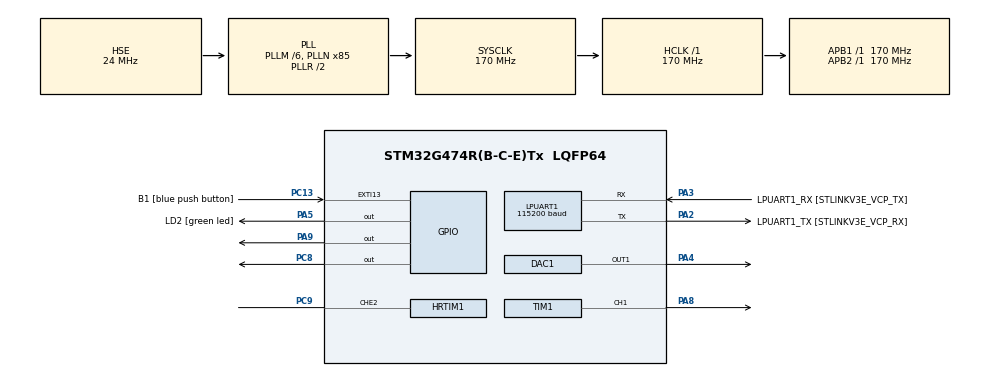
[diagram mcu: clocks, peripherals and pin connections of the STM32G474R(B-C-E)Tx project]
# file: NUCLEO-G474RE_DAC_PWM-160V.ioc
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Dma.Request0=TIM1_CH1
Dma.TIM1_CH1.0.Direction=DMA_PERIPH_TO_MEMORY
Dma.TIM1_CH1.0.EventEnable=DISABLE
Dma.TIM1_CH1.0.Instance=DMA1_Channel1
Dma.TIM1_CH1.0.MemDataAlignment=DMA_MDATAALIGN_HALFWORD
Dma.TIM1_CH1.0.MemInc=DMA_MINC_ENABLE
Dma.TIM1_CH1.0.Mode=DMA_CIRCULAR
Dma.TIM1_CH1.0.PeriphDataAlignment=DMA_PDATAALIGN_HALFWORD
Dma.TIM1_CH1.0.PeriphInc=DMA_PINC_DISABLE
Dma.TIM1_CH1.0.Polarity=HAL_DMAMUX_REQ_GEN_RISING
Dma.TIM1_CH1.0.Priority=DMA_PRIORITY_MEDIUM
Dma.TIM1_CH1.0.RequestNumber=1
Dma.TIM1_CH1.0.SignalID=NONE
Dma.TIM1_CH1.0.SyncEnable=DISABLE
Dma.TIM1_CH1.0.SyncPolarity=HAL_DMAMUX_SYNC_NO_EVENT
Dma.TIM1_CH1.0.SyncRequestNumber=1
Dma.TIM1_CH1.0.SyncSignalID=NONE
LPUART1.BaudRate=115200
LPUART1.WordLength=UART_WORDLENGTH_8B
Mcu.Family=STM32G4
Mcu.Name=STM32G474R(B-C-E)Tx
Mcu.Package=LQFP64
NVIC.DMA1_Channel1_IRQn=true\:0\:0\:false\:false\:true\:false\:true\:true
NVIC.EXTI15_10_IRQn=true\:0\:0\:false\:false\:true\:true\:true\:true
NVIC.PriorityGroup=NVIC_PRIORITYGROUP_4
PA13.GPIO_Label=T_SWDIO
PA13.Mode=Trace_Asynchronous_SW
PA13.Signal=SYS_JTMS-SWDIO
PA14.GPIO_Label=T_SWCLK
PA14.Mode=Trace_Asynchronous_SW
PA14.Signal=SYS_JTCK-SWCLK
PA2.GPIO_Label=LPUART1_TX [STLINKV3E_VCP_RX]
PA2.Mode=Asynchronous
PA2.Signal=LPUART1_TX
PA3.GPIO_Label=LPUART1_RX [STLINKV3E_VCP_TX]
PA3.Mode=Asynchronous
PA3.Signal=LPUART1_RX
PA4.Signal=COMP_DAC11_group
PA5.GPIO_Label=LD2 [green led]
PA5.Signal=GPIO_Output
PA8.Signal=S_TIM1_CH1
PA9.Signal=GPIO_Output
PB3.GPIO_Label=T_SWO
PB3.Mode=Trace_Asynchronous_SW
PB3.Signal=SYS_JTDO-SWO
PC13.GPIO_Label=B1 [blue push button]
PC13.Signal=GPXTI13
PC14-OSC32_IN.Mode=LSE-External-Oscillator
PC14-OSC32_IN.Signal=RCC_OSC32_IN
PC15-OSC32_OUT.Mode=LSE-External-Oscillator
PC15-OSC32_OUT.Signal=RCC_OSC32_OUT
PC8.PinState=GPIO_PIN_SET
PC8.Signal=GPIO_Output
PC9.Mode=Output_TE2
PC9.Signal=HRTIM1_CHE2
PF0-OSC_IN.Mode=HSE-External-Oscillator
PF0-OSC_IN.Signal=RCC_OSC_IN
PF1-OSC_OUT.Mode=HSE-External-Oscillator
PF1-OSC_OUT.Signal=RCC_OSC_OUT
ProjectManager.HeapSize=0x200
ProjectManager.StackSize=0x400
ProjectManager.TargetToolchain=STM32CubeIDE
RCC.ADC12Freq_Value=170000000
RCC.ADC345Freq_Value=170000000
RCC.AHBFreq_Value=170000000
RCC.APB1Freq_Value=170000000
RCC.APB1TimFreq_Value=170000000
RCC.APB2Freq_Value=170000000
RCC.APB2TimFreq_Value=170000000
RCC.CortexFreq_Value=170000000
RCC.EXTERNAL_CLOCK_VALUE=12288000
RCC.HCLKFreq_Value=170000000
RCC.HSE_VALUE=24000000
RCC.HSI48_VALUE=48000000
RCC.HSI_VALUE=16000000
RCC.PLLM=RCC_PLLM_DIV6
RCC.PLLN=85
RCC.PLLSourceVirtual=RCC_PLLSOURCE_HSE
RCC.RTCClockSelection=RCC_RTCCLKSOURCE_LSE
RCC.SYSCLKFreq_VALUE=170000000
RCC.SYSCLKSource=RCC_SYSCLKSOURCE_PLLCLK
RCC.USBFreq_Value=170000000
RCC.VCOOutputFreq_Value=340000000
SH.COMP_DAC11_group.0=DAC1_OUT1,DAC_OUT1_ExtAndInt
SH.S_TIM1_CH1.0=TIM1_CH1,PWM Generation1 CH1
TIM1.Channel-PWM\ Generation1\ CH1=TIM_CHANNEL_1
TIM1.PeriodNoDither=1000-1
TIM1.Prescaler=17-1
VP_SYS_VS_DBSignals.Mode=DisableDeadBatterySignals
board=NUCLEO-G474RE

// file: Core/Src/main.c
/* USER CODE BEGIN Header */
/**
  ******************************************************************************
  * @file           : main.c
  * @brief          : Main program body
  ******************************************************************************
  * @attention
  *
  * Copyright (c) 2022 STMicroelectronics.
  * All rights reserved.
  *
  * This software is licensed under terms that can be found in the LICENSE file
  * in the root directory of this software component.
  * If no LICENSE file comes with this software, it is provided AS-IS.
  *
  ******************************************************************************
  */
/* USER CODE END Header */
#include "main.h"

DAC_HandleTypeDef hdac1;

HRTIM_HandleTypeDef hhrtim1;

UART_HandleTypeDef hlpuart1;

TIM_HandleTypeDef htim1;
DMA_HandleTypeDef hdma_tim1_ch1;

/* USER CODE BEGIN PV */

// for 0V - 160V variable output PWM
volatile uint16_t duty_cycle = 0;
uint16_t duty_cycle_increase = 0;

/* USER CODE END PV */

void SystemClock_Config(void);
static void MX_GPIO_Init(void);
static void MX_LPUART1_UART_Init(void);
static void MX_DMA_Init(void);
static void MX_HRTIM1_Init(void);
static void MX_TIM1_Init(void);
static void MX_DAC1_Init(void);

int main(void)
{

  /* MCU Configuration--------------------------------------------------------*/

  /* Reset of all peripherals, Initializes the Flash interface and the Systick. */
  HAL_Init();

  /* Configure the system clock */
  SystemClock_Config();

  /* Initialize all configured peripherals */
  MX_GPIO_Init();
  MX_LPUART1_UART_Init();
  MX_DMA_Init();
  MX_HRTIM1_Init();
  MX_TIM1_Init();
  MX_DAC1_Init();
  /* USER CODE BEGIN 2 */

  // Opto duty cycle by DMA
  duty_cycle = 00; // div by 10
  if (HAL_TIM_PWM_Start_DMA(&htim1, TIM_CHANNEL_1, (uint32_t *) &duty_cycle, 1) != HAL_OK)
  {
    /* PWM Generation Error */
    while(1)
    {
    	HAL_Delay(100);
    	HAL_GPIO_TogglePin(GPIOA, GPIO_PIN_5);
    }
  }

  /* USER CODE END 2 */

  /* Infinite loop */
  /* USER CODE BEGIN WHILE */
  while (1)
  {
	  HAL_GPIO_TogglePin(GPIOA, GPIO_PIN_5);
	  HAL_Delay(50);
		if (duty_cycle == 0)
		{
			duty_cycle_increase = 1; //duty_cycle + 10; // div by 10; // div by 10
			HAL_Delay(4000);
		}
		if (duty_cycle == 1000)
		{
			duty_cycle_increase = 0;
			HAL_Delay(4000);
		}
		if (duty_cycle_increase)
			duty_cycle = duty_cycle + 1;
		else
			duty_cycle = duty_cycle - 1;
    /* USER CODE END WHILE */

  }
}

void SystemClock_Config(void)
{
  RCC_OscInitTypeDef RCC_OscInitStruct = {0};
  RCC_ClkInitTypeDef RCC_ClkInitStruct = {0};

  /** Configure the main internal regulator output voltage
  */
  HAL_PWREx_ControlVoltageScaling(PWR_REGULATOR_VOLTAGE_SCALE1_BOOST);

  /** Initializes the RCC Oscillators according to the specified parameters
  * in the RCC_OscInitTypeDef structure.
  */
  RCC_OscInitStruct.OscillatorType = RCC_OSCILLATORTYPE_HSE;
  RCC_OscInitStruct.HSEState = RCC_HSE_ON;
  RCC_OscInitStruct.PLL.PLLState = RCC_PLL_ON;
  RCC_OscInitStruct.PLL.PLLSource = RCC_PLLSOURCE_HSE;
  RCC_OscInitStruct.PLL.PLLM = RCC_PLLM_DIV6;
  RCC_OscInitStruct.PLL.PLLN = 85;
  RCC_OscInitStruct.PLL.PLLP = RCC_PLLP_DIV2;
  RCC_OscInitStruct.PLL.PLLQ = RCC_PLLQ_DIV2;
  RCC_OscInitStruct.PLL.PLLR = RCC_PLLR_DIV2;
  if (HAL_RCC_OscConfig(&RCC_OscInitStruct) != HAL_OK)
  {
    Error_Handler();
  }

  /** Initializes the CPU, AHB and APB buses clocks
  */
  RCC_ClkInitStruct.ClockType = RCC_CLOCKTYPE_HCLK|RCC_CLOCKTYPE_SYSCLK
                              |RCC_CLOCKTYPE_PCLK1|RCC_CLOCKTYPE_PCLK2;
  RCC_ClkInitStruct.SYSCLKSource = RCC_SYSCLKSOURCE_PLLCLK;
  RCC_ClkInitStruct.AHBCLKDivider = RCC_SYSCLK_DIV1;
  RCC_ClkInitStruct.APB1CLKDivider = RCC_HCLK_DIV1;
  RCC_ClkInitStruct.APB2CLKDivider = RCC_HCLK_DIV1;

  if (HAL_RCC_ClockConfig(&RCC_ClkInitStruct, FLASH_LATENCY_4) != HAL_OK)
  {
    Error_Handler();
  }
}

static void MX_DAC1_Init(void)
{

  DAC_ChannelConfTypeDef sConfig = {0};

  /** DAC Initialization
  */
  hdac1.Instance = DAC1;
  if (HAL_DAC_Init(&hdac1) != HAL_OK)
  {
    Error_Handler();
  }

  /** DAC channel OUT1 config
  */
  sConfig.DAC_HighFrequency = DAC_HIGH_FREQUENCY_INTERFACE_MODE_AUTOMATIC;
  sConfig.DAC_DMADoubleDataMode = DISABLE;
  sConfig.DAC_SignedFormat = DISABLE;
  sConfig.DAC_SampleAndHold = DAC_SAMPLEANDHOLD_DISABLE;
  sConfig.DAC_Trigger = DAC_TRIGGER_NONE;
  sConfig.DAC_Trigger2 = DAC_TRIGGER_NONE;
  sConfig.DAC_OutputBuffer = DAC_OUTPUTBUFFER_ENABLE;
  sConfig.DAC_ConnectOnChipPeripheral = DAC_CHIPCONNECT_BOTH;
  sConfig.DAC_UserTrimming = DAC_TRIMMING_FACTORY;
  if (HAL_DAC_ConfigChannel(&hdac1, &sConfig, DAC_CHANNEL_1) != HAL_OK)
  {
    Error_Handler();
  }

}

static void MX_HRTIM1_Init(void)
{

  HRTIM_TimeBaseCfgTypeDef pTimeBaseCfg = {0};
  HRTIM_TimerCtlTypeDef pTimerCtl = {0};
  HRTIM_TimerCfgTypeDef pTimerCfg = {0};
  HRTIM_OutputCfgTypeDef pOutputCfg = {0};

  hhrtim1.Instance = HRTIM1;
  hhrtim1.Init.HRTIMInterruptResquests = HRTIM_IT_NONE;
  hhrtim1.Init.SyncOptions = HRTIM_SYNCOPTION_NONE;
  if (HAL_HRTIM_Init(&hhrtim1) != HAL_OK)
  {
    Error_Handler();
  }
  if (HAL_HRTIM_DLLCalibrationStart(&hhrtim1, HRTIM_CALIBRATIONRATE_3) != HAL_OK)
  {
    Error_Handler();
  }
  if (HAL_HRTIM_PollForDLLCalibration(&hhrtim1, 10) != HAL_OK)
  {
    Error_Handler();
  }
  pTimeBaseCfg.Period = 0xFFDF;
  pTimeBaseCfg.RepetitionCounter = 0x00;
  pTimeBaseCfg.PrescalerRatio = HRTIM_PRESCALERRATIO_MUL32;
  pTimeBaseCfg.Mode = HRTIM_MODE_CONTINUOUS;
  if (HAL_HRTIM_TimeBaseConfig(&hhrtim1, HRTIM_TIMERINDEX_TIMER_E, &pTimeBaseCfg) != HAL_OK)
  {
    Error_Handler();
  }
  pTimerCtl.UpDownMode = HRTIM_TIMERUPDOWNMODE_UP;
  pTimerCtl.DualChannelDacEnable = HRTIM_TIMER_DCDE_DISABLED;
  if (HAL_HRTIM_WaveformTimerControl(&hhrtim1, HRTIM_TIMERINDEX_TIMER_E, &pTimerCtl) != HAL_OK)
  {
    Error_Handler();
  }
  pTimerCfg.InterruptRequests = HRTIM_TIM_IT_NONE;
  pTimerCfg.DMARequests = HRTIM_TIM_DMA_NONE;
  pTimerCfg.DMASrcAddress = 0x0000;
  pTimerCfg.DMADstAddress = 0x0000;
  pTimerCfg.DMASize = 0x1;
  pTimerCfg.HalfModeEnable = HRTIM_HALFMODE_DISABLED;
  pTimerCfg.InterleavedMode = HRTIM_INTERLEAVED_MODE_DISABLED;
  pTimerCfg.StartOnSync = HRTIM_SYNCSTART_DISABLED;
  pTimerCfg.ResetOnSync = HRTIM_SYNCRESET_DISABLED;
  pTimerCfg.DACSynchro = HRTIM_DACSYNC_NONE;
  pTimerCfg.PreloadEnable = HRTIM_PRELOAD_DISABLED;
  pTimerCfg.UpdateGating = HRTIM_UPDATEGATING_INDEPENDENT;
  pTimerCfg.BurstMode = HRTIM_TIMERBURSTMODE_MAINTAINCLOCK;
  pTimerCfg.RepetitionUpdate = HRTIM_UPDATEONREPETITION_DISABLED;
  pTimerCfg.PushPull = HRTIM_TIMPUSHPULLMODE_DISABLED;
  pTimerCfg.FaultEnable = HRTIM_TIMFAULTENABLE_NONE;
  pTimerCfg.FaultLock = HRTIM_TIMFAULTLOCK_READWRITE;
  pTimerCfg.DeadTimeInsertion = HRTIM_TIMDEADTIMEINSERTION_DISABLED;
  pTimerCfg.DelayedProtectionMode = HRTIM_TIMER_D_E_DELAYEDPROTECTION_DISABLED;
  pTimerCfg.UpdateTrigger = HRTIM_TIMUPDATETRIGGER_NONE;
  pTimerCfg.ResetTrigger = HRTIM_TIMRESETTRIGGER_NONE;
  pTimerCfg.ResetUpdate = HRTIM_TIMUPDATEONRESET_DISABLED;
  pTimerCfg.ReSyncUpdate = HRTIM_TIMERESYNC_UPDATE_UNCONDITIONAL;
  if (HAL_HRTIM_WaveformTimerConfig(&hhrtim1, HRTIM_TIMERINDEX_TIMER_E, &pTimerCfg) != HAL_OK)
  {
    Error_Handler();
  }
  pOutputCfg.Polarity = HRTIM_OUTPUTPOLARITY_HIGH;
  pOutputCfg.SetSource = HRTIM_OUTPUTSET_NONE;
  pOutputCfg.ResetSource = HRTIM_OUTPUTRESET_NONE;
  pOutputCfg.IdleMode = HRTIM_OUTPUTIDLEMODE_NONE;
  pOutputCfg.IdleLevel = HRTIM_OUTPUTIDLELEVEL_INACTIVE;
  pOutputCfg.FaultLevel = HRTIM_OUTPUTFAULTLEVEL_NONE;
  pOutputCfg.ChopperModeEnable = HRTIM_OUTPUTCHOPPERMODE_DISABLED;
  pOutputCfg.BurstModeEntryDelayed = HRTIM_OUTPUTBURSTMODEENTRY_REGULAR;
  if (HAL_HRTIM_WaveformOutputConfig(&hhrtim1, HRTIM_TIMERINDEX_TIMER_E, HRTIM_OUTPUT_TE2, &pOutputCfg) != HAL_OK)
  {
    Error_Handler();
  }
  HAL_HRTIM_MspPostInit(&hhrtim1);

}

static void MX_LPUART1_UART_Init(void)
{

  hlpuart1.Instance = LPUART1;
  hlpuart1.Init.BaudRate = 115200;
  hlpuart1.Init.WordLength = UART_WORDLENGTH_8B;
  hlpuart1.Init.StopBits = UART_STOPBITS_1;
  hlpuart1.Init.Parity = UART_PARITY_NONE;
  hlpuart1.Init.Mode = UART_MODE_TX_RX;
  hlpuart1.Init.HwFlowCtl = UART_HWCONTROL_NONE;
  hlpuart1.Init.OneBitSampling = UART_ONE_BIT_SAMPLE_DISABLE;
  hlpuart1.Init.ClockPrescaler = UART_PRESCALER_DIV1;
  hlpuart1.AdvancedInit.AdvFeatureInit = UART_ADVFEATURE_NO_INIT;
  if (HAL_UART_Init(&hlpuart1) != HAL_OK)
  {
    Error_Handler();
  }
  if (HAL_UARTEx_SetTxFifoThreshold(&hlpuart1, UART_TXFIFO_THRESHOLD_1_8) != HAL_OK)
  {
    Error_Handler();
  }
  if (HAL_UARTEx_SetRxFifoThreshold(&hlpuart1, UART_RXFIFO_THRESHOLD_1_8) != HAL_OK)
  {
    Error_Handler();
  }
  if (HAL_UARTEx_DisableFifoMode(&hlpuart1) != HAL_OK)
  {
    Error_Handler();
  }

}

static void MX_TIM1_Init(void)
{

  TIM_MasterConfigTypeDef sMasterConfig = {0};
  TIM_OC_InitTypeDef sConfigOC = {0};
  TIM_BreakDeadTimeConfigTypeDef sBreakDeadTimeConfig = {0};

  htim1.Instance = TIM1;
  htim1.Init.Prescaler = 17-1;
  htim1.Init.CounterMode = TIM_COUNTERMODE_UP;
  htim1.Init.Period = 999;
  htim1.Init.ClockDivision = TIM_CLOCKDIVISION_DIV1;
  htim1.Init.RepetitionCounter = 0;
  htim1.Init.AutoReloadPreload = TIM_AUTORELOAD_PRELOAD_DISABLE;
  if (HAL_TIM_PWM_Init(&htim1) != HAL_OK)
  {
    Error_Handler();
  }
  sMasterConfig.MasterOutputTrigger = TIM_TRGO_RESET;
  sMasterConfig.MasterOutputTrigger2 = TIM_TRGO2_RESET;
  sMasterConfig.MasterSlaveMode = TIM_MASTERSLAVEMODE_DISABLE;
  if (HAL_TIMEx_MasterConfigSynchronization(&htim1, &sMasterConfig) != HAL_OK)
  {
    Error_Handler();
  }
  sConfigOC.OCMode = TIM_OCMODE_PWM1;
  sConfigOC.Pulse = 0;
  sConfigOC.OCPolarity = TIM_OCPOLARITY_HIGH;
  sConfigOC.OCNPolarity = TIM_OCNPOLARITY_HIGH;
  sConfigOC.OCFastMode = TIM_OCFAST_DISABLE;
  sConfigOC.OCIdleState = TIM_OCIDLESTATE_RESET;
  sConfigOC.OCNIdleState = TIM_OCNIDLESTATE_RESET;
  if (HAL_TIM_PWM_ConfigChannel(&htim1, &sConfigOC, TIM_CHANNEL_1) != HAL_OK)
  {
    Error_Handler();
  }
  sBreakDeadTimeConfig.OffStateRunMode = TIM_OSSR_DISABLE;
  sBreakDeadTimeConfig.OffStateIDLEMode = TIM_OSSI_DISABLE;
  sBreakDeadTimeConfig.LockLevel = TIM_LOCKLEVEL_OFF;
  sBreakDeadTimeConfig.DeadTime = 0;
  sBreakDeadTimeConfig.BreakState = TIM_BREAK_DISABLE;
  sBreakDeadTimeConfig.BreakPolarity = TIM_BREAKPOLARITY_HIGH;
  sBreakDeadTimeConfig.BreakFilter = 0;
  sBreakDeadTimeConfig.BreakAFMode = TIM_BREAK_AFMODE_INPUT;
  sBreakDeadTimeConfig.Break2State = TIM_BREAK2_DISABLE;
  sBreakDeadTimeConfig.Break2Polarity = TIM_BREAK2POLARITY_HIGH;
  sBreakDeadTimeConfig.Break2Filter = 0;
  sBreakDeadTimeConfig.Break2AFMode = TIM_BREAK_AFMODE_INPUT;
  sBreakDeadTimeConfig.AutomaticOutput = TIM_AUTOMATICOUTPUT_DISABLE;
  if (HAL_TIMEx_ConfigBreakDeadTime(&htim1, &sBreakDeadTimeConfig) != HAL_OK)
  {
    Error_Handler();
  }
  HAL_TIM_MspPostInit(&htim1);

}

static void MX_DMA_Init(void)
{

  /* DMA controller clock enable */
  __HAL_RCC_DMAMUX1_CLK_ENABLE();
  __HAL_RCC_DMA1_CLK_ENABLE();

  /* DMA interrupt init */
  /* DMA1_Channel1_IRQn interrupt configuration */
  HAL_NVIC_SetPriority(DMA1_Channel1_IRQn, 0, 0);
  HAL_NVIC_EnableIRQ(DMA1_Channel1_IRQn);

}

static void MX_GPIO_Init(void)
{
  GPIO_InitTypeDef GPIO_InitStruct = {0};

  /* GPIO Ports Clock Enable */
  __HAL_RCC_GPIOC_CLK_ENABLE();
  __HAL_RCC_GPIOF_CLK_ENABLE();
  __HAL_RCC_GPIOA_CLK_ENABLE();
  __HAL_RCC_GPIOB_CLK_ENABLE();

  /*Configure GPIO pin Output Level */
  HAL_GPIO_WritePin(GPIOA, LD2_Pin|GPIO_PIN_9, GPIO_PIN_RESET);

  /*Configure GPIO pin Output Level */
  HAL_GPIO_WritePin(GPIOC, GPIO_PIN_8, GPIO_PIN_SET);

  /*Configure GPIO pin : B1_Pin */
  GPIO_InitStruct.Pin = B1_Pin;
  GPIO_InitStruct.Mode = GPIO_MODE_IT_RISING;
  GPIO_InitStruct.Pull = GPIO_NOPULL;
  HAL_GPIO_Init(B1_GPIO_Port, &GPIO_InitStruct);

  /*Configure GPIO pins : LD2_Pin PA9 */
  GPIO_InitStruct.Pin = LD2_Pin|GPIO_PIN_9;
  GPIO_InitStruct.Mode = GPIO_MODE_OUTPUT_PP;
  GPIO_InitStruct.Pull = GPIO_NOPULL;
  GPIO_InitStruct.Speed = GPIO_SPEED_FREQ_LOW;
  HAL_GPIO_Init(GPIOA, &GPIO_InitStruct);

  /*Configure GPIO pin : PC8 */
  GPIO_InitStruct.Pin = GPIO_PIN_8;
  GPIO_InitStruct.Mode = GPIO_MODE_OUTPUT_PP;
  GPIO_InitStruct.Pull = GPIO_NOPULL;
  GPIO_InitStruct.Speed = GPIO_SPEED_FREQ_LOW;
  HAL_GPIO_Init(GPIOC, &GPIO_InitStruct);

  /* EXTI interrupt init*/
  HAL_NVIC_SetPriority(EXTI15_10_IRQn, 0, 0);
  HAL_NVIC_EnableIRQ(EXTI15_10_IRQn);

}

void Error_Handler(void)
{
  __disable_irq();
  while (1)
  {
  }
}
